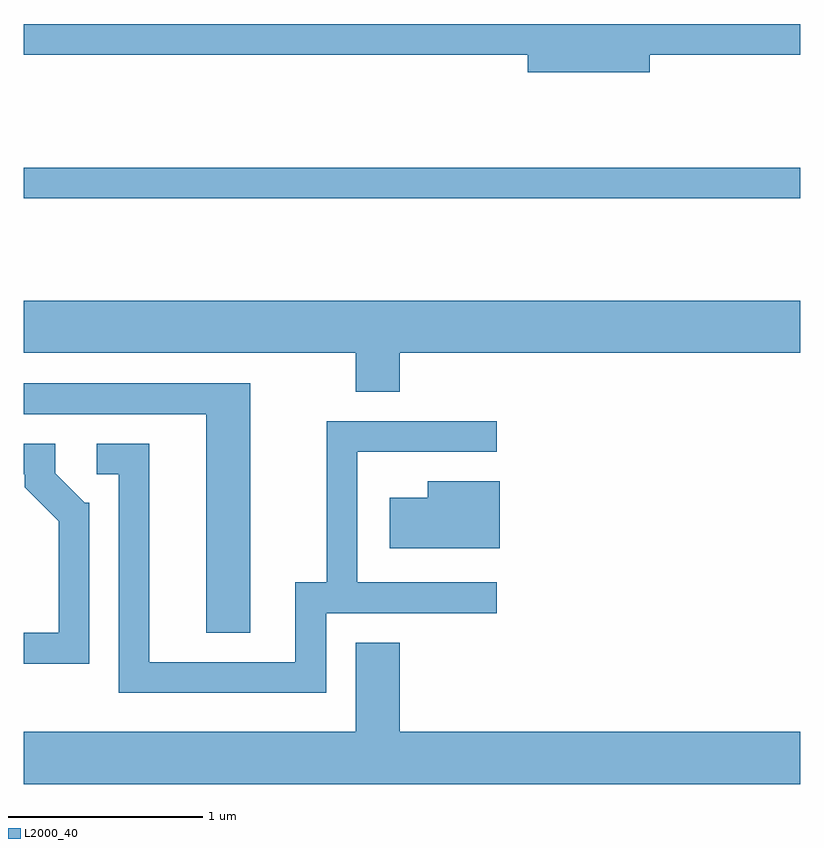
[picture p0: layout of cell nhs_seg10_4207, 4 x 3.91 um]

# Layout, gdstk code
import gdstk
lib = gdstk.Library(unit=1e-6, precision=1e-09)
def R(c, l, rs):  # rectangles x0, y0, x1, y1
    for r in rs: c.add(gdstk.rectangle(r[:2], r[2:], *l))
def P(c, l, *ps):  # polygons
    for p in ps: c.add(gdstk.Polygon(p, *l))
L2000_40 = (2000, 40)

nhs_seg10_4207 = lib.new_cell('nhs_seg10_4207')
R(nhs_seg10_4207, L2000_40, [(309.611,2103.611,313.611,2103.769)])
P(nhs_seg10_4207, L2000_40, [(312.834,2104.351),(313.611,2104.351),(313.611,2104.509),(309.611,2104.509),(309.611,2104.351),(312.206,2104.351),(312.206,2104.261),(312.834,2104.261)],
  [(311.549,2102.816),(313.611,2102.816),(313.611,2103.084),(309.611,2103.084),(309.611,2102.816),(311.321,2102.816),(311.321,2102.616),(311.549,2102.616)],
  [(310.779,2102.659),(309.611,2102.659),(309.611,2102.501),(310.551,2102.501),(310.551,2101.376),(310.779,2101.376)],
  [(311.169,2101.476),(312.048,2101.476),(312.048,2101.634),(311.329,2101.634),(311.329,2102.306),(312.048,2102.306),(312.048,2102.464),(311.171,2102.464),(311.171,2101.634),(311.011,2101.634),(311.011,2101.224),(310.259,2101.224),(310.259,2102.349),(309.988,2102.349),(309.988,2102.191),(310.101,2102.191),(310.101,2101.066),(311.169,2101.066)],
  [(309.949,2102.044),(309.927,2102.044),(309.774,2102.197),(309.774,2102.349),(309.611,2102.349),(309.611,2102.191),(309.616,2102.191),(309.616,2102.124),(309.791,2101.949),(309.791,2101.374),(309.611,2101.374),(309.611,2101.216),(309.949,2101.216)],
  [(312.064,2102.154),(311.691,2102.154),(311.691,2102.069),(311.496,2102.069),(311.496,2101.811),(312.064,2101.811)],
  [(313.611,2100.864),(311.549,2100.864),(311.549,2101.324),(311.321,2101.324),(311.321,2100.864),(309.611,2100.864),(309.611,2100.596),(313.611,2100.596)])

lib.write_gds('nhs_seg10_4207.gds')
